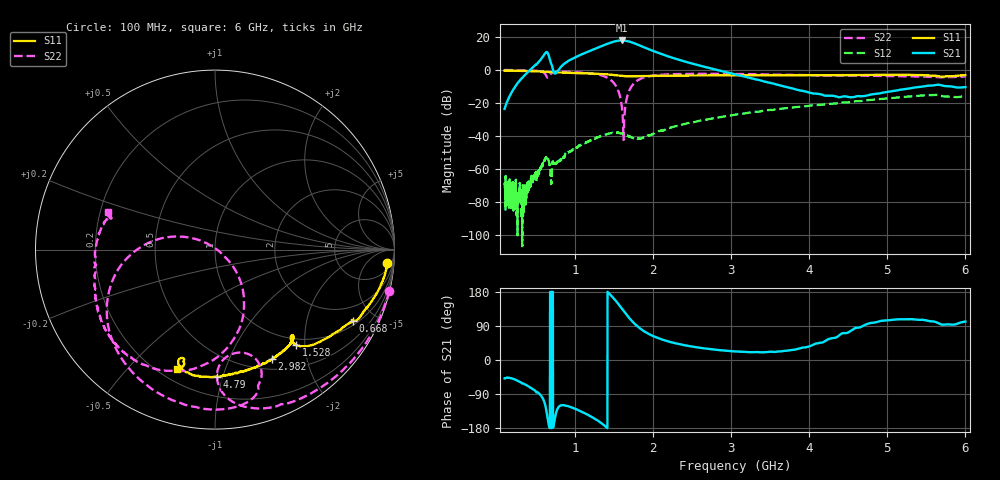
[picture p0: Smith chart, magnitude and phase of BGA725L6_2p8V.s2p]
! (c) 2012 Infineon Technologies AG
! BGA725L6 - SiGe GNSS Low Noise Amplifier (LNA)
! 20 September 2012
! Packaged Sample on Standard Application Board
! C1 = L1 = 0 ohm
! C2 = 1 uF
! VCC = 2.8 V
! RF input and output lines de-embedded
! Port 1 reference plane: LNA input AI (pin 5)
! Port 2 reference plane: LNA output AO (pin 3)
! Network Data:
! Measurement085
# Hz S MA R 50
!  f  Mag(S11)  Pha(S11)  Mag(S21)  Pha(S21)  Mag(S12)  Pha(S12)  Mag(S22)  Pha(S22)
!  Hz  --  deg  --  deg  --  deg  --  deg
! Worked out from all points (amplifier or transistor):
!   1784 points, 100 MHz to 6 GHz, reference 50 ohm
!   highest |S21| = 17.9 dB at 1.599 GHz (marker M1)
!   |S21| within 3 dB of that: 1.363 GHz to 1.829 GHz (465.7 MHz wide, 29.2 % of centre)
!   unconditionally stable (mu >= 1): start of sweep to end of sweep
!   at 694 MHz: K = 74.90, MAG = 13.8 dB, |S12| = -67.1 dB
!   at 1.818 GHz: K = 4.34, MAG = 19.1 dB, |S12| = -41.7 dB
!   at 6 GHz: K = 3.56, MAG = -5.7 dB, |S12| = -15.8 dB
!   lowest NFmin = 0.63 dB at 1.55 GHz
!   S11 on the Smith chart (normalised r, x): 100 MHz: 10, -21; 668 MHz: 1.20, -3.78; 1.528 GHz: 0.89, -1.82; 2.982 GHz: 0.63, -1.46; 4.79 GHz: 0.34, -0.95; 6 GHz: 0.27, -0.70
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1e8  0.9637 -4.6  0.06672 -48.6  0.0003432 125.6  0.9994 -13.4
4.8e8  0.9105 -20.0  1.323 -79.1  0.0005569 -102.7  0.9499 -63.7
5.68e8  0.8956 -23.1  2.152 -94.5  0.001221 -126.3  0.9024 -77.4
6.14e8  0.89 -25.1  3.075 -114.3  0.001954 -136.6  0.7911 -87.3
6.46e8  0.88 -26.7  3.426 -148.4  0.002288 -167.4  0.5948 -82.6
6.68e8  0.8656 -27.2  2.605 -173.3  0.001703 164.9  0.6512 -69.5
7.8e8  0.8447 -29.7  0.9355 -127.8  0.001597 -142.6  0.8878 -84.6
1.084e9  0.7976 -37.8  2.953 -136.1  0.005516 -151.4  0.8393 -119.1
1.348e9  0.7541 -45.1  5.351 -168.0  0.01039 -171.9  0.6779 -152.7
1.528e9  0.695 -49.6  7.496 155.2  0.01266 164.9  0.3212 169.5
1.599e9  0.6656 -49.9  7.827 136.2  0.01197 155.9  0.08577 147.1
1.624e9  0.6579 -49.7  7.784 129.4  0.01147 154.2  0.007749 24.6
1.694e9  0.6431 -48.8  7.273 111.1  0.009861 151.3  0.233 -51.8
1.814e9  0.6455 -47.8  5.726 86.6  0.008352 166.6  0.5015 -77.3
2.068e9  0.6689 -50.0  3.287 57.4  0.01381 -171.5  0.7067 -106.5
2.418e9  0.6799 -54.9  1.777 38.4  0.0237 -173.7  0.761 -125.5
2.982e9  0.6883 -62.6  0.8101 23.6  0.04194 176.5  0.759 -142.1
3.05e9  0.6889 -63.6  0.7404 22.5  0.04461 175.2  0.7573 -143.8
4.04e9  0.6958 -77.2  0.1961 39.5  0.08518 157.4  0.6964 -164.6
4.79e9  0.7088 -89.3  0.1816 97.6  0.1252 146.3  0.6652 179.7
5.02e9  0.7098 -93.6  0.2216 105.0  0.1388 142.1  0.6544 174.6
6e9  0.7004 -107.7  0.3043 101.5  0.1621 127.0  0.6335 160.6
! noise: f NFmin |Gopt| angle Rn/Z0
1.55e+09  0.6344  0.4553  46.33  0.1699
1.557e+09  0.636  0.4549  46.52  0.1699
1.564e+09  0.6375  0.4546  46.71  0.1699
1.571e+09  0.6391  0.4542  46.89  0.17
1.578e+09  0.6407  0.4538  47.08  0.17
1.586e+09  0.6425  0.4534  47.29  0.1701
1.593e+09  0.6441  0.4531  47.48  0.1701
1.6e+09  0.6457  0.4527  47.66  0.1702
1.607e+09  0.6474  0.4524  47.84  0.1702
1.615e+09  0.6494  0.452  48.05  0.1703
